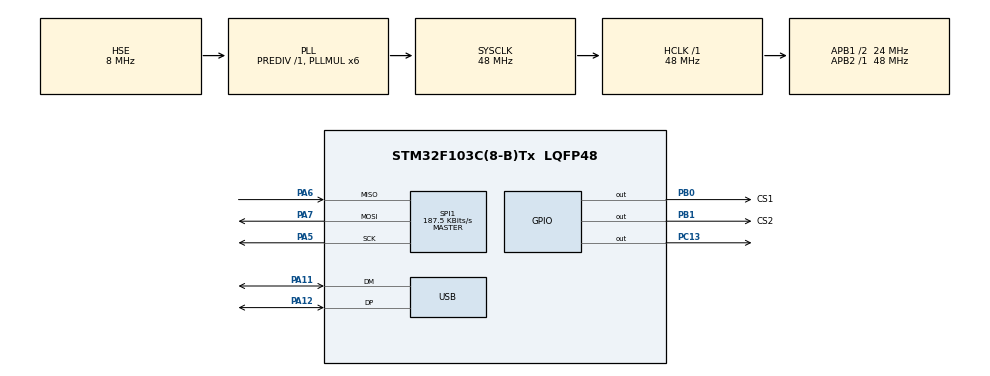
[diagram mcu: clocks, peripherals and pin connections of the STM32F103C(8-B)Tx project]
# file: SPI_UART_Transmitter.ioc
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Mcu.Family=STM32F1
Mcu.Name=STM32F103C(8-B)Tx
Mcu.Package=LQFP48
NVIC.PriorityGroup=NVIC_PRIORITYGROUP_4
NVIC.USB_LP_CAN1_RX0_IRQn=true\:0\:0\:false\:false\:true\:false\:true\:true
PA11.Mode=Device
PA11.Signal=USB_DM
PA12.Mode=Device
PA12.Signal=USB_DP
PA13.Mode=Serial_Wire
PA13.Signal=SYS_JTMS-SWDIO
PA14.Mode=Serial_Wire
PA14.Signal=SYS_JTCK-SWCLK
PA5.Mode=Full_Duplex_Master
PA5.Signal=SPI1_SCK
PA6.Mode=Full_Duplex_Master
PA6.Signal=SPI1_MISO
PA7.Mode=Full_Duplex_Master
PA7.Signal=SPI1_MOSI
PB0.GPIO_Label=CS1
PB0.GPIO_PuPd=GPIO_PULLDOWN
PB0.Signal=GPIO_Output
PB1.GPIO_Label=CS2
PB1.GPIO_PuPd=GPIO_PULLDOWN
PB1.Signal=GPIO_Output
PC13-TAMPER-RTC.Signal=GPIO_Output
PD0-OSC_IN.Mode=HSE-External-Oscillator
PD0-OSC_IN.Signal=RCC_OSC_IN
PD1-OSC_OUT.Mode=HSE-External-Oscillator
PD1-OSC_OUT.Signal=RCC_OSC_OUT
ProjectManager.HeapSize=0x200
ProjectManager.StackSize=0x400
ProjectManager.TargetToolchain=STM32CubeIDE
RCC.AHBFreq_Value=48000000
RCC.APB1CLKDivider=RCC_HCLK_DIV2
RCC.APB1Freq_Value=24000000
RCC.APB1TimFreq_Value=48000000
RCC.APB2Freq_Value=48000000
RCC.APB2TimFreq_Value=48000000
RCC.HCLKFreq_Value=48000000
RCC.PLLMUL=RCC_PLL_MUL6
RCC.SYSCLKFreq_VALUE=48000000
RCC.SYSCLKSource=RCC_SYSCLKSOURCE_PLLCLK
RCC.USBFreq_Value=48000000
SPI1.BaudRatePrescaler=SPI_BAUDRATEPRESCALER_256
SPI1.CRCCalculation=SPI_CRCCALCULATION_ENABLE
SPI1.CalculateBaudRate=187.5 KBits/s
SPI1.Direction=SPI_DIRECTION_2LINES
SPI1.Mode=SPI_MODE_MASTER
SPI1.VirtualType=VM_MASTER
USB_DEVICE.CLASS_NAME_FS=CDC
USB_DEVICE.VirtualMode=Cdc
USB_DEVICE.VirtualModeFS=Cdc_FS
VP_USB_DEVICE_VS_USB_DEVICE_CDC_FS.Mode=CDC_FS
board=custom

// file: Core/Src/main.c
/* USER CODE BEGIN Header */
/**
  ******************************************************************************
  * @file           : main.c
  * @brief          : Main program body
  ******************************************************************************
  * @attention
  *
  * Copyright (c) 2023 STMicroelectronics.
  * All rights reserved.
  *
  * This software is licensed under terms that can be found in the LICENSE file
  * in the root directory of this software component.
  * If no LICENSE file comes with this software, it is provided AS-IS.
  *
  ******************************************************************************
  */
/* USER CODE END Header */
#include "main.h"
#include "spi.h"
#include "usb_device.h"
#include "gpio.h"

/* USER CODE BEGIN Includes */
#include "exec_time.h"
/* USER CODE END Includes */

/* USER CODE BEGIN PTD */
typedef struct
{
	uint8_t target;
	uint8_t button;
	int8_t mouse_x;
	int8_t mouse_y;
	int8_t wheel;
	uint8_t modifier;
	uint8_t reserved;
	uint8_t keycode1;
	uint8_t keycode2;
	uint8_t keycode3;
	uint8_t keycode4;
	uint8_t keycode5;
	uint8_t keycode6;
	uint8_t c_keycode1;
	uint8_t c_keycode2;
	uint8_t c_keycode3;
	uint8_t c_keycode4;
} bufferSPI;
/* USER CODE END PTD */

/* USER CODE BEGIN PD */
#define TEST
#define CHECK
/* USER CODE END PD */

/* USER CODE BEGIN PV */

bufferSPI testbuf[4]={
		{0b00001111,0x00,50,0,0,0b00000000,0x00,0x10,0x0E,0x08,0x28,0x00,0x00,0xE9,0x00,0x00,0x00},
		{0b00001111,0x00,0,-50,0,0b00000000,0x00,0x00,0x00,0x00,0x00,0x00,0x00,0x00,0x00,0x00,0x00},
		{0b00001111,0x00,-50,0,0,0b00100000,0x00,0x10,0x0E,0x08,0x28,0x00,0x00,0xEA,0x00,0x00,0x00},
		{0b00001111,0x00,0,50,0,0b00000000,0x00,0x00,0x00,0x00,0x00,0x00,0x00,0x00,0x00,0x00,0x00},
					};//MKE Test with consumer

bufferSPI testbuf_1[4]={
		{0b00001100,0x00,0,0,0,0b00000000,0x00,0x00,0x00,0x00,0x00,0x00,0x00,0x30,0xEA,0x00,0x00},
		{0b00001100,0x00,0,0,0,0b00000000,0x00,0x00,0x00,0x00,0x00,0x00,0x00,0x00,0x00,0x00,0x00},
		{0b00001100,0x00,0,0,0,0b00000000,0x00,0x00,0x00,0x00,0x00,0x00,0x00,0x00,0x00,0x00,0x00},
		{0b00001100,0x00,0,0,0,0b00000000,0x00,0x00,0x00,0x00,0x00,0x00,0x00,0x00,0x00,0x00,0x00},
					};//MKE Test consumer only

bufferSPI testbuf_2[4]={
		{0b00001000,0x00,0,0,0,0b00000000,0x00,0x00,0x00,0x00,0x00,0x00,0x00,0x00,0x00,0x00,0x00},
		{0b00010000,0x00,0,0,0,0b00000000,0x00,0x00,0x00,0x00,0x00,0x00,0x00,0x00,0x00,0x00,0x00},
		{0b00001000,0x00,0,0,0,0b00000000,0x00,0x00,0x00,0x00,0x00,0x00,0x00,0x00,0x00,0x00,0x00},
		{0b00010000,0x00,0,0,0,0b00000000,0x00,0x00,0x00,0x00,0x00,0x00,0x00,0x00,0x00,0x00,0x00},
					};//MKE switch test

bufferSPI check={0b00100000,0x00,0,0,0,0b00000000,0x00,0x00,0x00,0x00,0x00,0x00,0x00,0x00,0x00,0x00,0x00};

bufferSPI spi_receive_buffer;
uint8_t crc8=0;
/* USER CODE END PV */

void SystemClock_Config(void);
/* USER CODE BEGIN PFP */
void test_1(void);
void test_2(void);
uint8_t CRC_Calculate_software(uint8_t *Data, uint8_t Buffer_lenght);
float exec_time;
/* USER CODE END PFP */

int main(void)
{

  /* MCU Configuration--------------------------------------------------------*/

  /* Reset of all peripherals, Initializes the Flash interface and the Systick. */
  HAL_Init();

  /* Configure the system clock */
  SystemClock_Config();

  /* Initialize all configured peripherals */
  MX_GPIO_Init();
  MX_SPI1_Init();
  MX_USB_DEVICE_Init();
  /* USER CODE BEGIN 2 */
  DWT_Init();
  /* USER CODE END 2 */

  /* Infinite loop */
  /* USER CODE BEGIN WHILE */
  while (1)
  {

	  test_1();
	  //start_exec_time();
	  //HAL_Delay(1000);
	  //exec_time=stop_exec_time();

    /* USER CODE END WHILE */

  }
}

void SystemClock_Config(void)
{
  RCC_OscInitTypeDef RCC_OscInitStruct = {0};
  RCC_ClkInitTypeDef RCC_ClkInitStruct = {0};
  RCC_PeriphCLKInitTypeDef PeriphClkInit = {0};

  /** Initializes the RCC Oscillators according to the specified parameters
  * in the RCC_OscInitTypeDef structure.
  */
  RCC_OscInitStruct.OscillatorType = RCC_OSCILLATORTYPE_HSE;
  RCC_OscInitStruct.HSEState = RCC_HSE_ON;
  RCC_OscInitStruct.HSEPredivValue = RCC_HSE_PREDIV_DIV1;
  RCC_OscInitStruct.HSIState = RCC_HSI_ON;
  RCC_OscInitStruct.PLL.PLLState = RCC_PLL_ON;
  RCC_OscInitStruct.PLL.PLLSource = RCC_PLLSOURCE_HSE;
  RCC_OscInitStruct.PLL.PLLMUL = RCC_PLL_MUL6;
  if (HAL_RCC_OscConfig(&RCC_OscInitStruct) != HAL_OK)
  {
    Error_Handler();
  }

  /** Initializes the CPU, AHB and APB buses clocks
  */
  RCC_ClkInitStruct.ClockType = RCC_CLOCKTYPE_HCLK|RCC_CLOCKTYPE_SYSCLK
                              |RCC_CLOCKTYPE_PCLK1|RCC_CLOCKTYPE_PCLK2;
  RCC_ClkInitStruct.SYSCLKSource = RCC_SYSCLKSOURCE_PLLCLK;
  RCC_ClkInitStruct.AHBCLKDivider = RCC_SYSCLK_DIV1;
  RCC_ClkInitStruct.APB1CLKDivider = RCC_HCLK_DIV2;
  RCC_ClkInitStruct.APB2CLKDivider = RCC_HCLK_DIV1;

  if (HAL_RCC_ClockConfig(&RCC_ClkInitStruct, FLASH_LATENCY_1) != HAL_OK)
  {
    Error_Handler();
  }
  PeriphClkInit.PeriphClockSelection = RCC_PERIPHCLK_USB;
  PeriphClkInit.UsbClockSelection = RCC_USBCLKSOURCE_PLL;
  if (HAL_RCCEx_PeriphCLKConfig(&PeriphClkInit) != HAL_OK)
  {
    Error_Handler();
  }
}

/* USER CODE BEGIN 4 */
void test_1(void)
{
#ifdef DUMMY
	HAL_GPIO_WritePin(CS_GPIO_Port,CS_Pin,GPIO_PIN_SET);
	HAL_SPI_Transmit(&hspi1,&spi_dummy_buffer,sizeof(spi_dummy_buffer),10);
	HAL_GPIO_WritePin(CS_GPIO_Port,CS_Pin,GPIO_PIN_RESET);

	HAL_Delay(200);
#endif

	for (uint8_t i=0;i<4;i++)
	{
#ifdef TEST
		//HAL_GPIO_TogglePin(GPIOC,GPIO_PIN_13);
#endif
		HAL_GPIO_WritePin(CS1_GPIO_Port,CS1_Pin,GPIO_PIN_SET);
		HAL_Delay(1);
		HAL_SPI_Transmit(&hspi1,&testbuf[i],sizeof(testbuf[i]),10);
		HAL_GPIO_WritePin(CS1_GPIO_Port,CS1_Pin,GPIO_PIN_RESET);

		crc8=CRC_Calculate_software(&testbuf[i],sizeof(testbuf[i]));
#ifdef CHECK
		HAL_Delay(50);

		HAL_GPIO_WritePin(CS1_GPIO_Port,CS1_Pin,GPIO_PIN_SET);
		HAL_Delay(1);
		HAL_SPI_TransmitReceive(&hspi1,&check,&spi_receive_buffer,sizeof(check),10);
		if (spi_receive_buffer.target==testbuf[i].target)
		{
			HAL_GPIO_TogglePin(GPIOC,GPIO_PIN_13);
		}
		HAL_GPIO_WritePin(CS1_GPIO_Port,CS1_Pin,GPIO_PIN_RESET);
#endif
		HAL_Delay(500);

	}
/*
	for (uint8_t i=0;i<4;i++)
	{
#ifdef TEST
		HAL_GPIO_TogglePin(GPIOC,GPIO_PIN_13);
#endif
		HAL_GPIO_WritePin(CS2_GPIO_Port,CS2_Pin,GPIO_PIN_SET);
		HAL_Delay(1);
		HAL_SPI_Transmit(&hspi1,&testbuf[i],sizeof(testbuf[i]),10);
		HAL_GPIO_WritePin(CS2_GPIO_Port,CS2_Pin,GPIO_PIN_RESET);

		crc8=CRC_Calculate_software(&testbuf[i],sizeof(testbuf[i]));
#ifdef CHECK
		HAL_Delay(50);

		HAL_GPIO_WritePin(CS2_GPIO_Port,CS2_Pin,GPIO_PIN_SET);
		HAL_Delay(1);
		HAL_SPI_TransmitReceive(&hspi1,&check,&spi_receive_buffer,sizeof(check),10);
		HAL_GPIO_WritePin(CS2_GPIO_Port,CS2_Pin,GPIO_PIN_RESET);
#endif
		HAL_Delay(250);

	}
*/
}

uint8_t CRC_Calculate_software(uint8_t *Data, uint8_t Buffer_lenght) {
	uint8_t CRC8 = 0x00;
	uint8_t size = (sizeof(*Data));
	while (Buffer_lenght--) {
		CRC8 ^= *Data++;
		for (uint8_t i = 0; i < (sizeof(*Data) * 8); i++) {
			if (CRC8 & 0x80) {
				CRC8 = (CRC8 << 1u) ^ 07;
			} else {
				CRC8 = (CRC8 << 1u);
			}
		}
	}
	return CRC8;
}

/* USER CODE END 4 */

void Error_Handler(void)
{
  __disable_irq();
  while (1)
  {
  }
}
